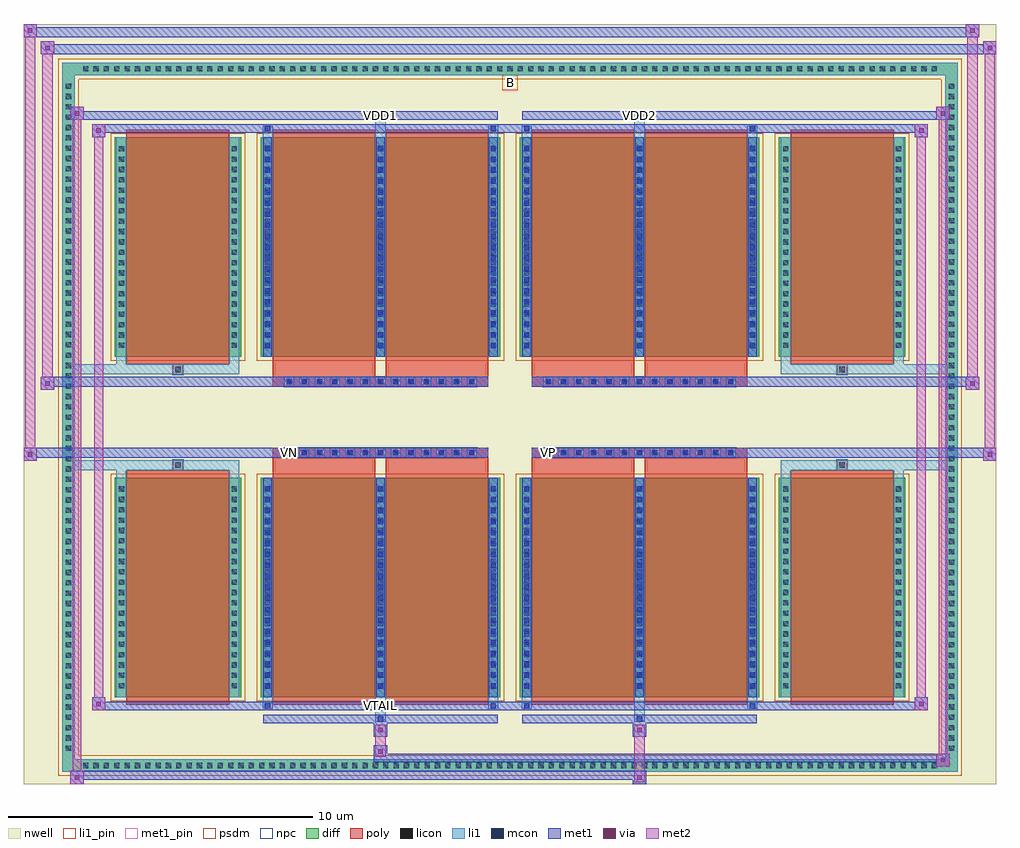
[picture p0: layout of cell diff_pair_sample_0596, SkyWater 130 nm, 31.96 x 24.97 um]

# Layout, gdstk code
import gdstk
lib = gdstk.Library(unit=1e-6, precision=5e-09)
def R(c, l, rs):  # rectangles x0, y0, x1, y1
    for r in rs: c.add(gdstk.rectangle(r[:2], r[2:], *l))
def A(c, l, x, y, w, h, nx, ny, dx, dy):  # array of equal rectangles
    R(c, l, [(x+i*dx, y+j*dy, x+i*dx+w, y+j*dy+h) for i in range(nx) for j in range(ny)])
def P(c, l, *ps):  # polygons
    for p in ps: c.add(gdstk.Polygon(p, *l))
nwell = (64, 20)
diff = (65, 20)
poly = (66, 20)
licon = (66, 44)
li1_pin = (67, 16)
li1 = (67, 20)
mcon = (67, 44)
met1_pin = (68, 16)
met1 = (68, 20)
via = (68, 44)
met2 = (69, 20)
psdm = (94, 20)
npc = (95, 20)

diff_pair_sample_0596 = lib.new_cell('diff_pair_sample_0596')
R(diff_pair_sample_0596, nwell, [(-15.98,-12.05,15.98,12.92), (-13.3,-10.24,-0.01,-0.8), (0.01,-10.24,13.3,-0.8), (-13.3,0.8,-0.01,10.24), (0.01,0.8,13.3,10.24)])
A(diff_pair_sample_0596, diff, -14.145, -11.65, 0.41, 0.41, 83, 2, 0.34, 22.89)
A(diff_pair_sample_0596, diff, -14.71, -11.085, 0.41, 0.41, 1, 65, 0, 0.34)
A(diff_pair_sample_0596, diff, 14.3, -11.085, 0.41, 0.41, 1, 65, 0, 0.34)
R(diff_pair_sample_0596, diff, [(-14.145,-11.65,14.145,-11.24), (-14.71,-11.085,-14.3,11.085), (14.3,-11.085,14.71,11.085), (-12.99,-9.195,-8.83,-1.985), (-8.19,-9.195,-0.32,-1.985), (0.32,-9.195,8.19,-1.985), (8.83,-9.195,12.99,-1.985), (-12.99,1.985,-8.83,9.195), (-8.19,1.985,-0.32,9.195), (0.32,1.985,8.19,9.195), (8.83,1.985,12.99,9.195), (-14.145,11.24,14.145,11.65)])
P(diff_pair_sample_0596, diff, [(14.71,11.65),(-14.71,11.65),(-14.71,-11.24),(-14.3,-11.24),(-14.3,11.24),(14.3,11.24),(14.3,-11.24),(-14.3,-11.24),(-14.71,-11.24),(-14.71,-11.65),(14.71,-11.65)])
A(diff_pair_sample_0596, poly, -7.42, -1.33, 0.33, 0.33, 13, 2, 0.5, 2.33)
A(diff_pair_sample_0596, poly, 1.09, -1.33, 0.33, 0.33, 13, 2, 0.5, 2.33)
R(diff_pair_sample_0596, poly, [(-12.6,-9.445,-9.22,-1.735), (-7.8,-9.445,-4.42,-1.735), (-4.09,-9.445,-0.71,-1.735), (0.71,-9.445,4.09,-1.735), (4.42,-9.445,7.8,-1.735), (9.22,-9.445,12.6,-1.735), (-11.075,-1.735,-10.745,-1.405), (-11.075,-1.735,-10.745,-1.405), (-7.8,-1.735,-4.42,-1.33), (-4.09,-1.735,-0.71,-1.33), (0.71,-1.735,4.09,-1.33), (4.42,-1.735,7.8,-1.33), (10.745,-1.735,11.075,-1.405), (10.745,-1.735,11.075,-1.405), (-7.8,-1.33,-0.71,-1), (0.71,-1.33,7.8,-1), (-7.8,1,-0.71,1.33), (0.71,1,7.8,1.33), (-7.8,1.33,-4.42,1.735), (-4.09,1.33,-0.71,1.735), (0.71,1.33,4.09,1.735), (4.42,1.33,7.8,1.735), (-11.075,1.405,-10.745,1.735), (-11.075,1.405,-10.745,1.735), (10.745,1.405,11.075,1.735), (10.745,1.405,11.075,1.735), (-12.6,1.735,-9.22,9.445), (-7.8,1.735,-4.42,9.445), (-4.09,1.735,-0.71,9.445), (0.71,1.735,4.09,9.445), (4.42,1.735,7.8,9.445), (9.22,1.735,12.6,9.445)])
A(diff_pair_sample_0596, licon, -14.025, -11.53, 0.17, 0.17, 83, 2, 0.34, 22.89)
A(diff_pair_sample_0596, licon, -14.59, -10.965, 0.17, 0.17, 1, 65, 0, 0.34)
A(diff_pair_sample_0596, licon, 14.42, -10.965, 0.17, 0.17, 1, 65, 0, 0.34)
A(diff_pair_sample_0596, licon, -12.85, -8.905, 0.17, 0.17, 1, 20, 0, 0.34)
A(diff_pair_sample_0596, licon, -9.14, -8.905, 0.17, 0.17, 1, 20, 0, 0.34)
A(diff_pair_sample_0596, licon, -8.05, -8.905, 0.17, 0.17, 3, 20, 3.71, 0.34)
A(diff_pair_sample_0596, licon, 0.46, -8.905, 0.17, 0.17, 3, 20, 3.71, 0.34)
A(diff_pair_sample_0596, licon, 8.97, -8.905, 0.17, 0.17, 1, 20, 0, 0.34)
A(diff_pair_sample_0596, licon, 12.68, -8.905, 0.17, 0.17, 1, 20, 0, 0.34)
A(diff_pair_sample_0596, licon, -7.34, -1.25, 0.17, 0.17, 13, 2, 0.5, 2.33)
A(diff_pair_sample_0596, licon, 1.17, -1.25, 0.17, 0.17, 13, 2, 0.5, 2.33)
A(diff_pair_sample_0596, licon, -12.85, 2.275, 0.17, 0.17, 1, 20, 0, 0.34)
A(diff_pair_sample_0596, licon, -9.14, 2.275, 0.17, 0.17, 1, 20, 0, 0.34)
A(diff_pair_sample_0596, licon, -8.05, 2.275, 0.17, 0.17, 3, 20, 3.71, 0.34)
A(diff_pair_sample_0596, licon, 0.46, 2.275, 0.17, 0.17, 3, 20, 3.71, 0.34)
A(diff_pair_sample_0596, licon, 8.97, 2.275, 0.17, 0.17, 1, 20, 0, 0.34)
A(diff_pair_sample_0596, licon, 12.68, 2.275, 0.17, 0.17, 1, 20, 0, 0.34)
R(diff_pair_sample_0596, licon, [(-10.995,-1.655,-10.825,-1.485), (10.825,-1.655,10.995,-1.485), (-10.995,1.485,-10.825,1.655), (10.825,1.485,10.995,1.655)])
R(diff_pair_sample_0596, li1_pin, [(-0.25,10.74,0.25,11.24)])
A(diff_pair_sample_0596, li1, -14.105, -11.61, 0.33, 0.33, 83, 2, 0.34, 22.89)
A(diff_pair_sample_0596, li1, -14.67, -11.045, 0.33, 0.33, 1, 65, 0, 0.34)
A(diff_pair_sample_0596, li1, 14.34, -11.045, 0.33, 0.33, 1, 65, 0, 0.34)
A(diff_pair_sample_0596, li1, -8.13, -9.195, 0.33, 7.21, 3, 2, 3.71, 11.18)
A(diff_pair_sample_0596, li1, 0.38, -9.195, 0.33, 7.21, 3, 2, 3.71, 11.18)
A(diff_pair_sample_0596, li1, -12.93, -8.985, 0.33, 0.33, 1, 20, 0, 0.34)
A(diff_pair_sample_0596, li1, -9.22, -8.985, 0.33, 0.33, 1, 20, 0, 0.34)
A(diff_pair_sample_0596, li1, -8.13, -8.985, 0.33, 0.33, 3, 20, 3.71, 0.34)
A(diff_pair_sample_0596, li1, 0.38, -8.985, 0.33, 0.33, 3, 20, 3.71, 0.34)
A(diff_pair_sample_0596, li1, 8.89, -8.985, 0.33, 0.33, 1, 20, 0, 0.34)
A(diff_pair_sample_0596, li1, 12.6, -8.985, 0.33, 0.33, 1, 20, 0, 0.34)
A(diff_pair_sample_0596, li1, -8.05, -8.915, 0.17, 0.17, 3, 19, 3.71, 0.36)
A(diff_pair_sample_0596, li1, -8.05, -8.915, 0.17, 6.65, 3, 2, 3.71, 11.18)
A(diff_pair_sample_0596, li1, 0.46, -8.915, 0.17, 0.17, 3, 19, 3.71, 0.36)
A(diff_pair_sample_0596, li1, 0.46, -8.915, 0.17, 6.65, 3, 2, 3.71, 11.18)
A(diff_pair_sample_0596, li1, -7.42, -1.33, 0.33, 0.33, 13, 2, 0.5, 2.33)
A(diff_pair_sample_0596, li1, 1.09, -1.33, 0.33, 0.33, 13, 2, 0.5, 2.33)
A(diff_pair_sample_0596, li1, -12.93, 2.195, 0.33, 0.33, 1, 20, 0, 0.34)
A(diff_pair_sample_0596, li1, -9.22, 2.195, 0.33, 0.33, 1, 20, 0, 0.34)
A(diff_pair_sample_0596, li1, -8.13, 2.195, 0.33, 0.33, 3, 20, 3.71, 0.34)
A(diff_pair_sample_0596, li1, 0.38, 2.195, 0.33, 0.33, 3, 20, 3.71, 0.34)
A(diff_pair_sample_0596, li1, 8.89, 2.195, 0.33, 0.33, 1, 20, 0, 0.34)
A(diff_pair_sample_0596, li1, 12.6, 2.195, 0.33, 0.33, 1, 20, 0, 0.34)
A(diff_pair_sample_0596, li1, -8.05, 2.265, 0.17, 0.17, 3, 19, 3.71, 0.36)
A(diff_pair_sample_0596, li1, 0.46, 2.265, 0.17, 0.17, 3, 19, 3.71, 0.36)
R(diff_pair_sample_0596, li1, [(-14.71,-11.65,-14.3,-11.24), (-14.71,-11.65,-14.3,-11.24), (-14.3,-11.65,14.3,-11.24), (14.3,-11.65,14.71,-11.24), (14.3,-11.65,14.71,-11.24), (-14.71,-11.24,-14.3,11.24), (14.3,-11.24,14.71,11.24), (-4.42,-10,-4.09,-9.195), (-4.34,-10,-4.17,-9.83), (4.09,-10,4.42,-9.195), (4.17,-10,4.34,-9.83), (-8.13,-9.57,-7.8,-9.195), (-8.05,-9.57,-7.88,-9.4), (-0.71,-9.57,-0.38,-9.195), (-0.63,-9.57,-0.46,-9.4), (0.38,-9.57,0.71,-9.195), (0.46,-9.57,0.63,-9.4), (7.8,-9.57,8.13,-9.195), (7.88,-9.57,8.05,-9.4), (-12.93,-9.195,-12.6,-1.985), (-9.22,-9.195,-8.89,-1.985), (8.89,-9.195,9.22,-1.985), (12.6,-9.195,12.93,-1.985), (-12.93,-1.985,-12.6,-1.405), (-9.22,-1.985,-8.89,-1.405), (8.89,-1.985,9.22,-1.405), (12.6,-1.985,12.93,-1.405), (-14.71,-1.735,-11.075,-1.405), (-12.93,-1.735,-11.075,-1.405), (-11.075,-1.735,-10.745,-1.405), (-10.745,-1.735,-8.89,-1.405), (8.89,-1.735,10.745,-1.405), (10.745,-1.735,11.075,-1.405), (10.745,-1.735,14.71,-1.405), (11.075,-1.735,12.93,-1.405), (-14.71,1.405,-11.075,1.735), (-12.93,1.405,-11.075,1.735), (-12.93,1.405,-12.6,1.985), (-11.075,1.405,-10.745,1.735), (-10.745,1.405,-8.89,1.735), (-9.22,1.405,-8.89,1.985), (8.89,1.405,10.745,1.735), (8.89,1.405,9.22,1.985), (10.745,1.405,11.075,1.735), (10.745,1.405,14.71,1.735), (11.075,1.405,12.93,1.735), (12.6,1.405,12.93,1.985), (-12.93,1.985,-12.6,9.195), (-9.22,1.985,-8.89,9.195), (8.89,1.985,9.22,9.195), (12.6,1.985,12.93,9.195), (-8.13,9.195,-7.8,9.57), (-4.42,9.195,-4.09,10), (-0.71,9.195,-0.38,9.57), (0.38,9.195,0.71,9.57), (4.09,9.195,4.42,10), (7.8,9.195,8.13,9.57), (-8.05,9.4,-7.88,9.57), (-0.63,9.4,-0.46,9.57), (0.46,9.4,0.63,9.57), (7.88,9.4,8.05,9.57), (-4.34,9.83,-4.17,10), (4.17,9.83,4.34,10), (-14.71,11.24,-14.3,11.65), (-14.71,11.24,-14.3,11.65), (-14.3,11.24,14.3,11.65), (14.3,11.24,14.71,11.65), (14.3,11.24,14.71,11.65)])
A(diff_pair_sample_0596, mcon, -8.05, -8.915, 0.17, 0.17, 3, 19, 3.71, 0.36)
A(diff_pair_sample_0596, mcon, 0.46, -8.915, 0.17, 0.17, 3, 19, 3.71, 0.36)
A(diff_pair_sample_0596, mcon, -7.34, -1.25, 0.17, 0.17, 13, 2, 0.5, 2.33)
A(diff_pair_sample_0596, mcon, 1.17, -1.25, 0.17, 0.17, 13, 2, 0.5, 2.33)
A(diff_pair_sample_0596, mcon, -8.05, 2.265, 0.17, 0.17, 3, 19, 3.71, 0.36)
A(diff_pair_sample_0596, mcon, 0.46, 2.265, 0.17, 0.17, 3, 19, 3.71, 0.36)
R(diff_pair_sample_0596, mcon, [(-4.34,-10,-4.17,-9.83), (4.17,-10,4.34,-9.83), (-8.05,-9.57,-7.88,-9.4), (-0.63,-9.57,-0.46,-9.4), (0.46,-9.57,0.63,-9.4), (7.88,-9.57,8.05,-9.4), (-8.05,9.4,-7.88,9.57), (-0.63,9.4,-0.46,9.57), (0.46,9.4,0.63,9.57), (7.88,9.4,8.05,9.57), (-4.34,9.83,-4.17,10), (4.17,9.83,4.34,10)])
R(diff_pair_sample_0596, met1_pin, [(-4.39,-9.61,-4.12,-9.34), (-7.39,-1.29,-7.12,-1.02), (1.12,-1.29,1.39,-1.02), (-4.39,9.79,-4.12,10.06), (4.12,9.79,4.39,10.06)])
A(diff_pair_sample_0596, met1, -8.11, -9.195, 0.29, 7.21, 3, 2, 3.71, 11.18)
A(diff_pair_sample_0596, met1, 0.4, -9.195, 0.29, 7.21, 3, 2, 3.71, 11.18)
A(diff_pair_sample_0596, met1, -8.11, -8.975, 0.29, 0.29, 3, 19, 3.71, 0.36)
A(diff_pair_sample_0596, met1, 0.4, -8.975, 0.29, 0.29, 3, 19, 3.71, 0.36)
A(diff_pair_sample_0596, met1, -7.4, -1.31, 0.29, 0.29, 13, 2, 0.5, 2.33)
A(diff_pair_sample_0596, met1, 1.11, -1.31, 0.29, 0.29, 13, 2, 0.5, 2.33)
A(diff_pair_sample_0596, met1, -8.11, 2.205, 0.29, 0.29, 3, 19, 3.71, 0.36)
A(diff_pair_sample_0596, met1, 0.4, 2.205, 0.29, 0.29, 3, 19, 3.71, 0.36)
R(diff_pair_sample_0596, met1, [(-14.44,-12.05,-14.01,-11.62), (4.04,-12.05,4.47,-11.62), (-14.44,-11.91,4.47,-11.62), (14.01,-11.48,14.44,-11.05), (-4.47,-11.34,14.44,-11.05), (-4.47,-11.2,-4.04,-10.77), (-4.47,-10.49,-4.04,-10.06), (4.04,-10.49,4.47,-10.06), (-8.11,-10.06,-0.4,-9.77), (-4.4,-10.06,-4.11,-9.77), (0.4,-10.06,8.11,-9.77), (4.11,-10.06,4.4,-9.77), (-13.73,-9.63,-13.3,-9.2), (-13.73,-9.63,-8.11,-9.34), (-8.11,-9.63,-7.82,-9.34), (-8.11,-9.63,-0.4,-9.34), (-0.69,-9.63,-0.4,-9.34), (-0.4,-9.63,0.4,-9.34), (0.4,-9.63,0.69,-9.34), (0.4,-9.63,8.11,-9.34), (7.82,-9.63,8.11,-9.34), (8.11,-9.63,13.73,-9.34), (13.3,-9.63,13.73,-9.2), (-15.98,-1.43,-15.55,-1), (15.55,-1.43,15.98,-1), (-15.98,-1.33,-0.71,-1), (-7.8,-1.33,-0.71,-1), (0.71,-1.33,7.8,-1), (0.71,-1.33,15.98,-1), (-15.41,0.9,-14.98,1.33), (14.98,0.9,15.41,1.33), (-15.41,1,-7.8,1.33), (-7.8,1,-0.71,1.33), (0.71,1,7.8,1.33), (7.8,1,15.41,1.33), (-13.73,9.2,-13.3,9.63), (13.3,9.2,13.73,9.63), (-13.73,9.34,-8.11,9.63), (-8.11,9.34,-7.82,9.63), (-8.11,9.34,-0.4,9.63), (-0.69,9.34,-0.4,9.63), (-0.4,9.34,0.4,9.63), (0.4,9.34,0.69,9.63), (0.4,9.34,8.11,9.63), (7.82,9.34,8.11,9.63), (8.11,9.34,13.73,9.63), (-14.44,9.77,-14.01,10.2), (-14.44,9.77,-8.11,10.06), (-8.11,9.77,-0.4,10.06), (-4.4,9.77,-4.11,10.06), (0.4,9.77,8.11,10.06), (4.11,9.77,4.4,10.06), (8.11,9.77,14.44,10.06), (14.01,9.77,14.44,10.2), (-15.41,11.92,-14.98,12.35), (-15.41,11.92,-13.3,12.25), (-13.3,11.92,13.3,12.25), (13.3,11.92,15.98,12.25), (15.55,11.92,15.98,12.35), (-15.98,12.49,-15.55,12.92), (-15.98,12.49,-13.3,12.82), (-13.3,12.49,13.3,12.82), (13.3,12.49,15.41,12.82), (14.98,12.49,15.41,12.92)])
R(diff_pair_sample_0596, via, [(-14.3,-11.91,-14.15,-11.76), (4.18,-11.91,4.33,-11.76), (14.15,-11.34,14.3,-11.19), (-4.33,-11.06,-4.18,-10.91), (-4.33,-10.35,-4.18,-10.2), (4.18,-10.35,4.33,-10.2), (-13.59,-9.49,-13.44,-9.34), (13.44,-9.49,13.59,-9.34), (-15.84,-1.29,-15.69,-1.14), (15.69,-1.29,15.84,-1.14), (-15.27,1.04,-15.12,1.19), (15.12,1.04,15.27,1.19), (-13.59,9.34,-13.44,9.49), (13.44,9.34,13.59,9.49), (-14.3,9.91,-14.15,10.06), (14.15,9.91,14.3,10.06), (-15.27,12.06,-15.12,12.21), (15.69,12.06,15.84,12.21), (-15.84,12.63,-15.69,12.78), (15.12,12.63,15.27,12.78)])
R(diff_pair_sample_0596, met2, [(-14.44,-12.05,-14.01,-11.62), (-14.37,-12.05,-14.08,10.2), (-14.08,-12.05,-14.01,-11.62), (-14.39,-12,-14.06,-11.67), (4.09,-12,4.42,-11.67), (4.09,-11.67,4.42,-10.44), (14.01,-11.48,14.44,-11.05), (14.08,-11.48,14.37,10.2), (14.37,-11.48,14.44,-11.05), (14.06,-11.43,14.39,-11.1), (-4.42,-11.15,-4.09,-10.82), (-4.42,-10.82,-4.09,-10.44), (-4.42,-10.44,-4.09,-10.11), (4.09,-10.44,4.42,-10.11), (-13.73,-9.63,-13.3,-9.2), (-13.66,-9.63,-13.37,9.63), (-13.37,-9.63,-13.3,-9.2), (13.3,-9.63,13.73,-9.2), (13.37,-9.63,13.66,9.63), (13.66,-9.63,13.73,-9.2), (-13.68,-9.58,-13.35,-9.25), (13.35,-9.58,13.68,-9.25), (-15.98,-1.43,-15.55,-1), (-15.93,-1.43,-15.6,12.92), (-15.6,-1.43,-15.55,-1), (15.55,-1.43,15.98,-1), (15.6,-1.43,15.93,12.35), (15.93,-1.43,15.98,-1), (-15.93,-1.38,-15.6,-1.05), (15.6,-1.38,15.93,-1.05), (-15.41,0.9,-14.98,1.33), (-15.36,0.9,-15.03,12.35), (-15.03,0.9,-14.98,1.33), (14.98,0.9,15.41,1.33), (15.03,0.9,15.36,12.92), (15.36,0.9,15.41,1.33), (-15.36,0.95,-15.03,1.28), (15.03,0.95,15.36,1.28), (-13.73,9.2,-13.3,9.63), (-13.37,9.2,-13.3,9.63), (13.3,9.2,13.73,9.63), (13.66,9.2,13.73,9.63), (-13.68,9.25,-13.35,9.58), (13.35,9.25,13.68,9.58), (-14.44,9.77,-14.01,10.2), (-14.08,9.77,-14.01,10.2), (14.01,9.77,14.44,10.2), (14.37,9.77,14.44,10.2), (-14.39,9.82,-14.06,10.15), (14.06,9.82,14.39,10.15), (-15.41,11.92,-14.98,12.35), (-15.03,11.92,-14.98,12.35), (15.55,11.92,15.98,12.35), (15.93,11.92,15.98,12.35), (-15.36,11.97,-15.03,12.3), (15.6,11.97,15.93,12.3), (-15.98,12.49,-15.55,12.92), (-15.6,12.49,-15.55,12.92), (14.98,12.49,15.41,12.92), (15.36,12.49,15.41,12.92), (-15.93,12.54,-15.6,12.87), (15.03,12.54,15.36,12.87)])
R(diff_pair_sample_0596, psdm, [(-13.12,-9.325,-8.7,-1.855), (-8.32,-9.325,-0.19,-1.855), (0.19,-9.325,8.32,-1.855), (8.7,-9.325,13.12,-1.855), (-13.12,1.855,-8.7,9.325), (-8.32,1.855,-0.19,9.325), (0.19,1.855,8.32,9.325), (8.7,1.855,13.12,9.325)])
P(diff_pair_sample_0596, psdm, [(14.84,11.78),(-14.84,11.78),(-14.84,-11.11),(-14.17,-11.11),(-14.17,11.11),(14.17,11.11),(14.17,-11.11),(-14.17,-11.11),(-14.84,-11.11),(-14.84,-11.78),(14.84,-11.78)])
A(diff_pair_sample_0596, npc, -7.44, -1.35, 0.37, 0.37, 13, 2, 0.5, 2.33)
A(diff_pair_sample_0596, npc, 1.07, -1.35, 0.37, 0.37, 13, 2, 0.5, 2.33)
R(diff_pair_sample_0596, npc, [(-11.095,-1.755,-10.725,-1.385), (10.725,-1.755,11.095,-1.385), (-7.44,-1.35,-6.57,-0.98), (-7.44,-1.35,-6.57,-0.98), (-6.94,-1.35,-6.07,-0.98), (-6.94,-1.35,-6.07,-0.98), (-6.44,-1.35,-5.57,-0.98), (-6.44,-1.35,-5.57,-0.98), (-5.94,-1.35,-5.07,-0.98), (-5.94,-1.35,-5.07,-0.98), (-5.44,-1.35,-4.57,-0.98), (-5.44,-1.35,-4.57,-0.98), (-4.94,-1.35,-4.07,-0.98), (-4.94,-1.35,-4.07,-0.98), (-4.44,-1.35,-3.57,-0.98), (-4.44,-1.35,-3.57,-0.98), (-3.94,-1.35,-3.07,-0.98), (-3.94,-1.35,-3.07,-0.98), (-3.44,-1.35,-2.57,-0.98), (-3.44,-1.35,-2.57,-0.98), (-2.94,-1.35,-2.07,-0.98), (-2.94,-1.35,-2.07,-0.98), (-2.44,-1.35,-1.57,-0.98), (-2.44,-1.35,-1.57,-0.98), (-1.94,-1.35,-1.07,-0.98), (-1.94,-1.35,-1.07,-0.98), (1.07,-1.35,1.94,-0.98), (1.07,-1.35,1.94,-0.98), (1.57,-1.35,2.44,-0.98), (1.57,-1.35,2.44,-0.98), (2.07,-1.35,2.94,-0.98), (2.07,-1.35,2.94,-0.98), (2.57,-1.35,3.44,-0.98), (2.57,-1.35,3.44,-0.98), (3.07,-1.35,3.94,-0.98), (3.07,-1.35,3.94,-0.98), (3.57,-1.35,4.44,-0.98), (3.57,-1.35,4.44,-0.98), (4.07,-1.35,4.94,-0.98), (4.07,-1.35,4.94,-0.98), (4.57,-1.35,5.44,-0.98), (4.57,-1.35,5.44,-0.98), (5.07,-1.35,5.94,-0.98), (5.07,-1.35,5.94,-0.98), (5.57,-1.35,6.44,-0.98), (5.57,-1.35,6.44,-0.98), (6.07,-1.35,6.94,-0.98), (6.07,-1.35,6.94,-0.98), (6.57,-1.35,7.44,-0.98), (6.57,-1.35,7.44,-0.98), (-7.44,0.98,-6.57,1.35), (-7.44,0.98,-6.57,1.35), (-6.94,0.98,-6.07,1.35), (-6.94,0.98,-6.07,1.35), (-6.44,0.98,-5.57,1.35), (-6.44,0.98,-5.57,1.35), (-5.94,0.98,-5.07,1.35), (-5.94,0.98,-5.07,1.35), (-5.44,0.98,-4.57,1.35), (-5.44,0.98,-4.57,1.35), (-4.94,0.98,-4.07,1.35), (-4.94,0.98,-4.07,1.35), (-4.44,0.98,-3.57,1.35), (-4.44,0.98,-3.57,1.35), (-3.94,0.98,-3.07,1.35), (-3.94,0.98,-3.07,1.35), (-3.44,0.98,-2.57,1.35), (-3.44,0.98,-2.57,1.35), (-2.94,0.98,-2.07,1.35), (-2.94,0.98,-2.07,1.35), (-2.44,0.98,-1.57,1.35), (-2.44,0.98,-1.57,1.35), (-1.94,0.98,-1.07,1.35), (-1.94,0.98,-1.07,1.35), (1.07,0.98,1.94,1.35), (1.07,0.98,1.94,1.35), (1.57,0.98,2.44,1.35), (1.57,0.98,2.44,1.35), (2.07,0.98,2.94,1.35), (2.07,0.98,2.94,1.35), (2.57,0.98,3.44,1.35), (2.57,0.98,3.44,1.35), (3.07,0.98,3.94,1.35), (3.07,0.98,3.94,1.35), (3.57,0.98,4.44,1.35), (3.57,0.98,4.44,1.35), (4.07,0.98,4.94,1.35), (4.07,0.98,4.94,1.35), (4.57,0.98,5.44,1.35), (4.57,0.98,5.44,1.35), (5.07,0.98,5.94,1.35), (5.07,0.98,5.94,1.35), (5.57,0.98,6.44,1.35), (5.57,0.98,6.44,1.35), (6.07,0.98,6.94,1.35), (6.07,0.98,6.94,1.35), (6.57,0.98,7.44,1.35), (6.57,0.98,7.44,1.35), (-11.095,1.385,-10.725,1.755), (10.725,1.385,11.095,1.755)])
diff_pair_sample_0596.add(gdstk.Label('VTAIL', (-4.255,-9.475), layer=68, texttype=5))
diff_pair_sample_0596.add(gdstk.Label('VN', (-7.255,-1.155), layer=68, texttype=5))
diff_pair_sample_0596.add(gdstk.Label('VP', (1.255,-1.155), layer=68, texttype=5))
diff_pair_sample_0596.add(gdstk.Label('B', (0,10.99), layer=67, texttype=5))
diff_pair_sample_0596.add(gdstk.Label('VDD2', (4.255,9.925), layer=68, texttype=5))
diff_pair_sample_0596.add(gdstk.Label('VDD1', (-4.255,9.925), layer=68, texttype=5))

lib.write_gds('diff_pair_sample_0596.gds')
